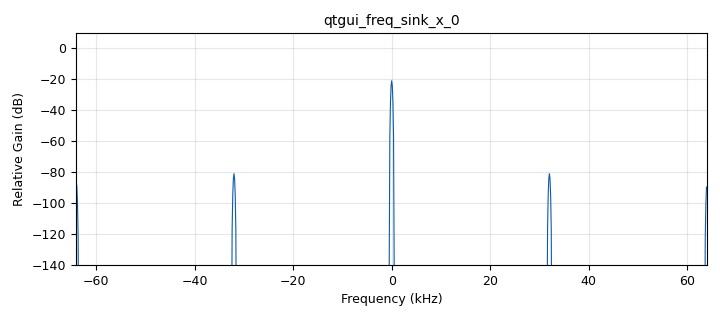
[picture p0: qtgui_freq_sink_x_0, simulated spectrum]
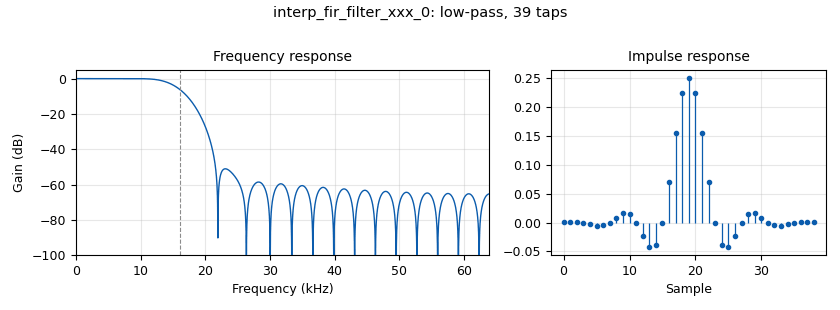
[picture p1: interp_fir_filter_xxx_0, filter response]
options:
  parameters:
    author: david
    generate_options: qt_gui
    id: interpolation_py
    output_language: python
    title: Interpolation
  states: {}

blocks:
- name: frequency
  id: variable_qtgui_range
  parameters:
    orient: Qt.Horizontal
    start: '-samp_rate/2'
    step: '1'
    stop: samp_rate/2
    value: '0'
  states: {}
- name: interpolation_rate
  id: variable
  parameters:
    value: '4'
  states: {}
- name: lowPassTaps
  id: variable_low_pass_filter_taps
  parameters:
    cutoff_freq: samp_rate_interpolated/(interpolation_rate * 2)
    gain: '1.0'
    samp_rate: samp_rate_interpolated
    width: samp_rate_interpolated/(interpolation_rate * 4)
    win: firdes.WIN_HAMMING
  states: {}
- name: samp_rate
  id: variable
  parameters:
    value: '32000'
  states: {}
- name: samp_rate_interpolated
  id: variable
  parameters:
    value: samp_rate * interpolation_rate
  states: {}
- name: analog_sig_source_x_0
  id: analog_sig_source_x
  parameters:
    amp: '1'
    freq: frequency
    offset: '0'
    phase: '0'
    samp_rate: samp_rate
    type: complex
    waveform: analog.GR_COS_WAVE
  states: {}
- name: blocks_throttle_0
  id: blocks_throttle
  parameters:
    samples_per_second: samp_rate_interpolated
    type: complex
  states: {}
- name: interp_fir_filter_xxx_0
  id: interp_fir_filter_xxx
  parameters:
    comment: |-
      Input Samp Rate: 32 kHz
      Output Samp Rate: 128 kHz
    interp: interpolation_rate
    taps: lowPassTaps
    type: ccc
  states: {}
- name: qtgui_freq_sink_x_0
  id: qtgui_freq_sink_x
  parameters:
    bw: samp_rate_interpolated
    fc: '0'
    fftsize: '1024'
    type: complex
    wintype: firdes.WIN_BLACKMAN_hARRIS
  states: {}

connections:
- [analog_sig_source_x_0, '0', interp_fir_filter_xxx_0, '0']
- [blocks_throttle_0, '0', qtgui_freq_sink_x_0, '0']
- [interp_fir_filter_xxx_0, '0', blocks_throttle_0, '0']

metadata:
  file_format: 1
